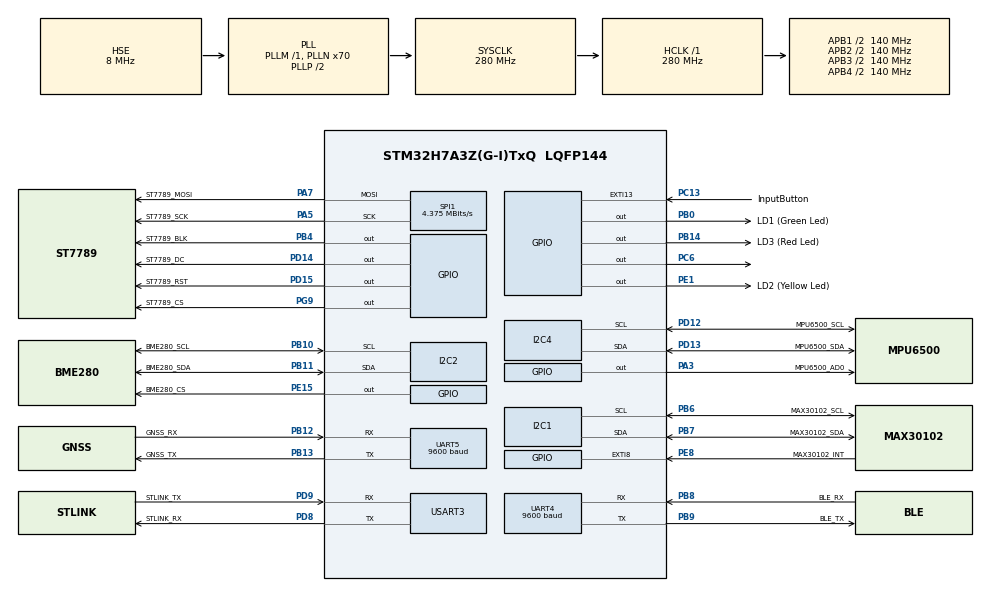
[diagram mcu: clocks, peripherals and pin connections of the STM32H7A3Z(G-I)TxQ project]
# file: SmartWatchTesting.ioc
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CORTEX_M7.default_mode_Activation=1
Dma.Request0=UART5_RX
Dma.Request1=UART5_TX
Dma.Request2=UART4_RX
Dma.Request3=UART4_TX
Dma.Request4=SPI1_TX
Dma.SPI1_TX.4.Direction=DMA_MEMORY_TO_PERIPH
Dma.SPI1_TX.4.EventEnable=DISABLE
Dma.SPI1_TX.4.FIFOMode=DMA_FIFOMODE_DISABLE
Dma.SPI1_TX.4.Instance=DMA1_Stream5
Dma.SPI1_TX.4.MemDataAlignment=DMA_MDATAALIGN_BYTE
Dma.SPI1_TX.4.MemInc=DMA_MINC_ENABLE
Dma.SPI1_TX.4.Mode=DMA_NORMAL
Dma.SPI1_TX.4.PeriphDataAlignment=DMA_PDATAALIGN_BYTE
Dma.SPI1_TX.4.PeriphInc=DMA_PINC_DISABLE
Dma.SPI1_TX.4.Polarity=HAL_DMAMUX_REQ_GEN_RISING
Dma.SPI1_TX.4.Priority=DMA_PRIORITY_LOW
Dma.SPI1_TX.4.RequestNumber=1
Dma.SPI1_TX.4.SignalID=NONE
Dma.SPI1_TX.4.SyncEnable=DISABLE
Dma.SPI1_TX.4.SyncPolarity=HAL_DMAMUX_SYNC_NO_EVENT
Dma.SPI1_TX.4.SyncRequestNumber=1
Dma.SPI1_TX.4.SyncSignalID=NONE
Dma.UART4_RX.2.Direction=DMA_PERIPH_TO_MEMORY
Dma.UART4_RX.2.EventEnable=DISABLE
Dma.UART4_RX.2.FIFOMode=DMA_FIFOMODE_DISABLE
Dma.UART4_RX.2.Instance=DMA1_Stream2
Dma.UART4_RX.2.MemDataAlignment=DMA_MDATAALIGN_BYTE
Dma.UART4_RX.2.MemInc=DMA_MINC_ENABLE
Dma.UART4_RX.2.Mode=DMA_CIRCULAR
Dma.UART4_RX.2.PeriphDataAlignment=DMA_PDATAALIGN_BYTE
Dma.UART4_RX.2.PeriphInc=DMA_PINC_DISABLE
Dma.UART4_RX.2.Polarity=HAL_DMAMUX_REQ_GEN_RISING
Dma.UART4_RX.2.Priority=DMA_PRIORITY_LOW
Dma.UART4_RX.2.RequestNumber=1
Dma.UART4_RX.2.SignalID=NONE
Dma.UART4_RX.2.SyncEnable=DISABLE
Dma.UART4_RX.2.SyncPolarity=HAL_DMAMUX_SYNC_NO_EVENT
Dma.UART4_RX.2.SyncRequestNumber=1
Dma.UART4_RX.2.SyncSignalID=NONE
Dma.UART4_TX.3.Direction=DMA_MEMORY_TO_PERIPH
Dma.UART4_TX.3.EventEnable=DISABLE
Dma.UART4_TX.3.FIFOMode=DMA_FIFOMODE_DISABLE
Dma.UART4_TX.3.Instance=DMA1_Stream3
Dma.UART4_TX.3.MemDataAlignment=DMA_MDATAALIGN_BYTE
Dma.UART4_TX.3.MemInc=DMA_MINC_ENABLE
Dma.UART4_TX.3.Mode=DMA_NORMAL
Dma.UART4_TX.3.PeriphDataAlignment=DMA_PDATAALIGN_BYTE
Dma.UART4_TX.3.PeriphInc=DMA_PINC_DISABLE
Dma.UART4_TX.3.Polarity=HAL_DMAMUX_REQ_GEN_RISING
Dma.UART4_TX.3.Priority=DMA_PRIORITY_LOW
Dma.UART4_TX.3.RequestNumber=1
Dma.UART4_TX.3.SignalID=NONE
Dma.UART4_TX.3.SyncEnable=DISABLE
Dma.UART4_TX.3.SyncPolarity=HAL_DMAMUX_SYNC_NO_EVENT
Dma.UART4_TX.3.SyncRequestNumber=1
Dma.UART4_TX.3.SyncSignalID=NONE
Dma.UART5_RX.0.Direction=DMA_PERIPH_TO_MEMORY
Dma.UART5_RX.0.EventEnable=DISABLE
Dma.UART5_RX.0.FIFOMode=DMA_FIFOMODE_DISABLE
Dma.UART5_RX.0.Instance=DMA1_Stream0
Dma.UART5_RX.0.MemDataAlignment=DMA_MDATAALIGN_BYTE
Dma.UART5_RX.0.MemInc=DMA_MINC_ENABLE
Dma.UART5_RX.0.Mode=DMA_CIRCULAR
Dma.UART5_RX.0.PeriphDataAlignment=DMA_PDATAALIGN_BYTE
Dma.UART5_RX.0.PeriphInc=DMA_PINC_DISABLE
Dma.UART5_RX.0.Polarity=HAL_DMAMUX_REQ_GEN_RISING
Dma.UART5_RX.0.Priority=DMA_PRIORITY_LOW
Dma.UART5_RX.0.RequestNumber=1
Dma.UART5_RX.0.SignalID=NONE
Dma.UART5_RX.0.SyncEnable=DISABLE
Dma.UART5_RX.0.SyncPolarity=HAL_DMAMUX_SYNC_NO_EVENT
Dma.UART5_RX.0.SyncRequestNumber=1
Dma.UART5_RX.0.SyncSignalID=NONE
Dma.UART5_TX.1.Direction=DMA_MEMORY_TO_PERIPH
Dma.UART5_TX.1.EventEnable=DISABLE
Dma.UART5_TX.1.FIFOMode=DMA_FIFOMODE_DISABLE
Dma.UART5_TX.1.Instance=DMA1_Stream1
Dma.UART5_TX.1.MemDataAlignment=DMA_MDATAALIGN_BYTE
Dma.UART5_TX.1.MemInc=DMA_MINC_ENABLE
Dma.UART5_TX.1.Mode=DMA_NORMAL
Dma.UART5_TX.1.PeriphDataAlignment=DMA_PDATAALIGN_BYTE
Dma.UART5_TX.1.PeriphInc=DMA_PINC_DISABLE
Dma.UART5_TX.1.Polarity=HAL_DMAMUX_REQ_GEN_RISING
Dma.UART5_TX.1.Priority=DMA_PRIORITY_LOW
Dma.UART5_TX.1.RequestNumber=1
Dma.UART5_TX.1.SignalID=NONE
Dma.UART5_TX.1.SyncEnable=DISABLE
Dma.UART5_TX.1.SyncPolarity=HAL_DMAMUX_SYNC_NO_EVENT
Dma.UART5_TX.1.SyncRequestNumber=1
Dma.UART5_TX.1.SyncSignalID=NONE
I2C1.Timing=0x20B0CCFF
I2C2.Timing=0x20B0CCFF
I2C4.Timing=0x20B0CCFF
Mcu.Family=STM32H7
Mcu.Name=STM32H7A3Z(G-I)TxQ
Mcu.Package=LQFP144
NVIC.DMA1_Stream0_IRQn=true\:0\:0\:false\:false\:true\:false\:true\:true
NVIC.DMA1_Stream1_IRQn=true\:0\:0\:false\:false\:true\:false\:true\:true
NVIC.DMA1_Stream2_IRQn=true\:0\:0\:false\:false\:true\:false\:true\:true
NVIC.DMA1_Stream3_IRQn=true\:0\:0\:false\:false\:true\:false\:true\:true
NVIC.DMA1_Stream5_IRQn=true\:0\:0\:false\:false\:true\:false\:true\:true
NVIC.EXTI15_10_IRQn=true\:0\:0\:false\:false\:true\:true\:true\:true
NVIC.EXTI9_5_IRQn=true\:0\:0\:false\:false\:true\:true\:true\:true
NVIC.PriorityGroup=NVIC_PRIORITYGROUP_4
NVIC.SPI1_IRQn=true\:0\:0\:false\:false\:true\:false\:true\:true
NVIC.UART4_IRQn=true\:0\:0\:false\:false\:true\:true\:true\:true
NVIC.UART5_IRQn=true\:0\:0\:false\:false\:true\:true\:true\:true
PA13.Mode=Trace_Asynchronous_SW
PA13.Signal=DEBUG_JTMS-SWDIO
PA14.Mode=Trace_Asynchronous_SW
PA14.Signal=DEBUG_JTCK-SWCLK
PA3.GPIO_Label=MPU6500_AD0
PA3.Signal=GPIO_Output
PA5.GPIO_Label=ST7789_SCK
PA5.Mode=TX_Only_Simplex_Unidirect_Master
PA5.Signal=SPI1_SCK
PA7.GPIO_Label=ST7789_MOSI
PA7.Mode=TX_Only_Simplex_Unidirect_Master
PA7.Signal=SPI1_MOSI
PB0.GPIO_Label=LD1 (Green Led)
PB0.Signal=GPIO_Output
PB10.GPIO_Label=BME280_SCL
PB10.Mode=I2C
PB10.Signal=I2C2_SCL
PB11.GPIO_Label=BME280_SDA
PB11.Mode=I2C
PB11.Signal=I2C2_SDA
PB12.GPIO_Label=GNSS_RX
PB12.Mode=Asynchronous
PB12.Signal=UART5_RX
PB13.GPIO_Label=GNSS_TX
PB13.Mode=Asynchronous
PB13.Signal=UART5_TX
PB14.GPIO_Label=LD3 (Red Led)
PB14.Signal=GPIO_Output
PB3.Mode=Trace_Asynchronous_SW
PB3.Signal=DEBUG_JTDO-SWO
PB4.GPIO_Label=ST7789_BLK
PB4.PinState=GPIO_PIN_RESET
PB4.Signal=GPIO_Output
PB6.GPIO_Label=MAX30102_SCL
PB6.GPIO_Pu=GPIO_NOPULL
PB6.Mode=I2C
PB6.Signal=I2C1_SCL
PB7.GPIO_Label=MAX30102_SDA
PB7.GPIO_Pu=GPIO_NOPULL
PB7.Mode=I2C
PB7.Signal=I2C1_SDA
PB8.GPIO_Label=BLE_RX
PB8.Mode=Asynchronous
PB8.Signal=UART4_RX
PB9.GPIO_Label=BLE_TX
PB9.Mode=Asynchronous
PB9.Signal=UART4_TX
PC13.GPIO_Label=InputButton
PC13.GPIO_ModeDefaultEXTI=GPIO_MODE_IT_FALLING
PC13.Signal=GPXTI13
PC14-OSC32_IN.GPIO_Label=OSC32_IN
PC14-OSC32_IN.Signal=RCC_OSC32_IN
PC15-OSC32_OUT.GPIO_Label=OSC32_OUT
PC15-OSC32_OUT.Signal=RCC_OSC32_OUT
PC6.Signal=GPIO_Output
PD12.GPIO_Label=MPU6500_SCL
PD12.Mode=I2C
PD12.Signal=I2C4_SCL
PD13.GPIO_Label=MPU6500_SDA
PD13.Mode=I2C
PD13.Signal=I2C4_SDA
PD14.GPIO_Label=ST7789_DC
PD14.GPIO_Speed=GPIO_SPEED_FREQ_HIGH
PD14.Signal=GPIO_Output
PD15.GPIO_Label=ST7789_RST
PD15.PinState=GPIO_PIN_SET
PD15.Signal=GPIO_Output
PD8.GPIO_Label=STLINK_RX
PD8.Mode=Asynchronous
PD8.Signal=USART3_TX
PD9.GPIO_Label=STLINK_TX
PD9.Mode=Asynchronous
PD9.Signal=USART3_RX
PE1.GPIO_Label=LD2 (Yellow Led)
PE1.Signal=GPIO_Output
PE15.GPIO_Label=BME280_CS
PE15.PinState=GPIO_PIN_SET
PE15.Signal=GPIO_Output
PE8.GPIO_Label=MAX30102_INT
PE8.GPIO_ModeDefaultEXTI=GPIO_MODE_IT_FALLING
PE8.GPIO_PuPd=GPIO_NOPULL
PE8.Signal=GPXTI8
PG9.GPIO_Label=ST7789_CS
PG9.Signal=GPIO_Output
PH0-OSC_IN.GPIO_Label=PH0-MCU
PH0-OSC_IN.Mode=HSE-External-Oscillator
PH0-OSC_IN.Signal=RCC_OSC_IN
PH1-OSC_OUT.GPIO_Label=PH1-MCU
PH1-OSC_OUT.Mode=HSE-External-Oscillator
PH1-OSC_OUT.Signal=RCC_OSC_OUT
ProjectManager.HeapSize=0x200
ProjectManager.StackSize=0x400
ProjectManager.TargetToolchain=STM32CubeIDE
RCC.ADCFreq_Value=16125000
RCC.APB1Freq_Value=140000000
RCC.APB2Freq_Value=140000000
RCC.APB3Freq_Value=140000000
RCC.APB4Freq_Value=140000000
RCC.CDPPRE=RCC_APB3_DIV2
RCC.CDPPRE1=RCC_APB1_DIV2
RCC.CDPPRE2=RCC_APB2_DIV2
RCC.CortexFreq_Value=280000000
RCC.DIVM1=1
RCC.DIVM3=1
RCC.DIVN1=70
RCC.DIVN3=24
RCC.DIVQ1=4
RCC.HCLKFreq_Value=280000000
RCC.HSE_VALUE=8000000
RCC.PLLFRACN=0
RCC.PLLSourceVirtual=RCC_PLLSOURCE_HSE
RCC.PWR_Regulator_Voltage_Scale=PWR_REGULATOR_VOLTAGE_SCALE0
RCC.SRDPPRE=RCC_APB4_DIV2
RCC.SYSCLKFreq_VALUE=280000000
RCC.SYSCLKSource=RCC_SYSCLKSOURCE_PLLCLK
RCC.SupplySource=PWR_DIRECT_SMPS_SUPPLY
RCC.USBCLockSelection=RCC_USBCLKSOURCE_HSI48
RCC.USBFreq_Value=48000000
SPI1.BaudRatePrescaler=SPI_BAUDRATEPRESCALER_32
SPI1.CLKPhase=SPI_PHASE_2EDGE
SPI1.CLKPolarity=SPI_POLARITY_HIGH
SPI1.CalculateBaudRate=4.375 MBits/s
SPI1.DataSize=SPI_DATASIZE_8BIT
SPI1.Direction=SPI_DIRECTION_2LINES_TXONLY
SPI1.Mode=SPI_MODE_MASTER
SPI1.VirtualType=VM_MASTER
UART4.BaudRate=9600
UART5.BaudRate=9600
USART3.VirtualMode-Asynchronous=VM_ASYNC
VP_MEMORYMAP_VS_MEMORYMAP.Mode=CurAppReg
board=NUCLEO-H7A3ZI-Q

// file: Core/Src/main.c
/* USER CODE BEGIN Header */
/**
 ******************************************************************************
 * @file           : main.c
 * @brief          : Main program body
 ******************************************************************************
 * @attention
 *
 * Copyright (c) 2025 STMicroelectronics.
 * All rights reserved.
 *
 * This software is licensed under terms that can be found in the LICENSE file
 * in the root directory of this software component.
 * If no LICENSE file comes with this software, it is provided AS-IS.
 *
 ******************************************************************************
 */
/* USER CODE END Header */
#include "main.h"
#include "dma.h"
#include "i2c.h"
#include "memorymap.h"
#include "spi.h"
#include "usart.h"
#include "gpio.h"

/* USER CODE BEGIN Includes */
#include "bmp280.h"
#include "GNSS.h"
#include "stm32h7xx_hal.h"
#include <string.h>         // For memset(), strlen(), sprintf()
#include <stdio.h>          // For printf() (if using debugging via UART)
#include <st7789.h>
#include "MPU6500_driver.h"
#include "ble_comms.h"
#include "common_defs.h"
#include "display.h"
#include "max30102_for_stm32_hal.h"
#include "sensors.h"
#include "uart_comms.h"

/* USER CODE END Includes */

/* USER CODE BEGIN PV */
float pressure, temperature, humidity;

uint16_t size;
uint8_t Data[256];

GNSS_StateHandle GNSS_Handle;

volatile uint16_t rxPos = 0;
char messageBuffer[RX_BUFFER_SIZE];
volatile uint8_t messageReady = 0;
extern uint8_t rxBuffer[RX_BUFFER_SIZE];

extern SmartWatchData_t SmartWatchData_handle;
UI_Screen_State_t SmartWatchScreen_State;
max30102_t max30102;

/* USER CODE END PV */

void SystemClock_Config(void);
static void MPU_Config(void);

/* USER CODE BEGIN 0 */
int __io_putchar(int chr)
{
	HAL_UART_Transmit(&STLINK_UART, (uint8_t*) &chr, 1, HAL_MAX_DELAY);
	return chr;
}
/* USER CODE END 0 */

int main(void)
{

  /* MPU Configuration--------------------------------------------------------*/
  MPU_Config();

  /* MCU Configuration--------------------------------------------------------*/

  /* Reset of all peripherals, Initializes the Flash interface and the Systick. */
  HAL_Init();

  /* Configure the system clock */
  SystemClock_Config();

  /* Initialize all configured peripherals */
  MX_GPIO_Init();
  MX_DMA_Init();
  MX_UART4_Init();
  MX_USART3_UART_Init();
  MX_I2C2_Init();
  MX_UART5_Init();
  MX_SPI1_Init();
  MX_I2C4_Init();
  MX_I2C1_Init();
  /* USER CODE BEGIN 2 */

	HAL_StatusTypeDef Scan_I2C_Bus(I2C_HandleTypeDef *hi2c)
	{
		HAL_StatusTypeDef status;
		uint32_t err;
		for (uint16_t addr = 1; addr < 128; addr++)
		{
			status = HAL_I2C_IsDeviceReady(hi2c, addr << 1, 3, 500);
			if (status == HAL_OK)
			{
				printf("I2C: device ACK at 0x%02X\r\n", addr);
			}
			else
			{
				err = HAL_I2C_GetError(hi2c);
				// err == HAL_I2C_ERROR_NONE usually means NACK
				printf("I2C: 0x%02X no ACK (err=0x%lX)\r\n", addr, err);
			}
			HAL_Delay(5);  // give time for UART to flush
		}
		return HAL_OK;
	}

#ifdef BLE_TEST

  configureHM10();
  startUartReception(&BLE_UART);
#endif

#ifdef BME280
	Scan_I2C_Bus(&BME280_I2C);

  Sensor_BMP280_init(&SmartWatchData_handle.bmp280);
#endif

#ifdef GPS_TEST
//	GNSS_Init(&GNSS_Handle, &GNSS_UART);
//	HAL_Delay(1000);
//	GNSS_LoadConfig(&GNSS_Handle);
//	uint32_t Timer = HAL_GetTick();
    Sensor_GNSS_Init(&SmartWatchData_handle,&GNSS_UART);        // init GNSS data handle

#endif

#ifdef MPU6500_TEST

	/* WHO_AM_I read */
	uint8_t MPU6500_ReadWhoAmI(void)
	{
	    uint8_t who_am_i = 0;
	    HAL_I2C_Mem_Read(&MPU6500_I2C, MPU6500_I2C_ADDR_SHIFTED, MPU6500_RGSTR_WHO_AM_I,
	                     I2C_MEMADD_SIZE_8BIT, &who_am_i, 1, HAL_MAX_DELAY);
	    return who_am_i;
	}

	/* Read values */

    uint8_t id = MPU6500_ReadWhoAmI();
    printf("mpu6500: WHO_AM_I = 0x%02X\r\n", id);

#endif

#ifdef SCREEN_TEST
	SmartWatchScreen_State = SCREEN_ENVIRONMENTAL;
	Display_Init(SmartWatchScreen_State);
	ST7789_Test();
#endif

#ifdef MAX30102_TEST
	// 7-bit I2C address of the MAX30102 is 0x57, shift left for HAL (8-bit format)
#define MAX30102_ADDR   (0x57 << 1)

	// MAX30102 register addresses
#define MAX30102_PART_ID_REG   0xFF

	// timeout for HAL transactions (ms)
#define MAX30102_I2C_TIMEOUT   100

	/**
	 * @brief  Simple connection test for MAX30102
	 * @retval HAL status: HAL_OK if device responded with correct PART_ID,
	 *         HAL_ERROR otherwise (or bus error)
	 */
	HAL_StatusTypeDef MAX30102_TestConnection(void)
	{
		uint8_t part_id = 0;
		HAL_StatusTypeDef status;

		// Read PART_ID register
		status = HAL_I2C_Mem_Read(&MAX30102_I2C,
		MAX30102_ADDR,
		MAX30102_PART_ID_REG,
		I2C_MEMADD_SIZE_8BIT, &part_id, 1,
		MAX30102_I2C_TIMEOUT);

		if (status != HAL_OK)
		{
			// I2C error (NACK, bus fault, etc.)
			return status;
		}

		if (part_id != 0x15)
		{
			// Unexpected ID
			return HAL_ERROR;
		}

		// All good!
		return HAL_OK;
	}

//	HAL_StatusTypeDef test = MAX30102_TestConnection();
	Scan_I2C_Bus();
//	Sensor_MAX30102_init(800, &max30102, &MAX30102_I2C);
	Sensor_MAX30102_init(&SmartWatchData_handle.max30102, &MAX30102_I2C);

#endif
//	Scan_I2C_Bus(&MAX30102_I2C);
	uint32_t Timer = HAL_GetTick();
	Sensor_SmartWatch_init(&SmartWatchData_handle);
  /* USER CODE END 2 */

  /* Infinite loop */
  /* USER CODE BEGIN WHILE */
	while (1)
	{
#ifdef BME280

		Sensor_BMP280_read_data(&SmartWatchData_handle);

		printf("Pressure: %.2f Pa, Temperature: %.2f C,  Humidity: %.2f \r\n", SmartWatchData_handle.pressure, SmartWatchData_handle.temperature,SmartWatchData_handle.humidity);

		HAL_Delay(500);
#endif

#ifdef GPS_TEST
//		if ((HAL_GetTick() - Timer) > 1000)
//		{
//			GNSS_GetUniqID(&GNSS_Handle);
//			GNSS_ParseBuffer(&GNSS_Handle);
//			HAL_Delay(250);
//			GNSS_GetPVTData(&GNSS_Handle);
//			GNSS_ParseBuffer(&GNSS_Handle);
//			HAL_Delay(250);
//			GNSS_SetMode(&GNSS_Handle,Wirst);
//			HAL_Delay(250);
//			printf("Day: %d-%d-%d \r\n", GNSS_Handle.day, GNSS_Handle.month,GNSS_Handle.year);
//			printf("Time: %d:%d:%d \r\n", GNSS_Handle.hour, GNSS_Handle.min,GNSS_Handle.sec);
//			printf("Status of fix: %d \r\n", GNSS_Handle.fixType);
//			printf("Latitude: %f \r\n", GNSS_Handle.fLat);
//			printf("Longitude: %f \r\n",(float) GNSS_Handle.lon / 10000000.0);
//			printf("Height above ellipsoid: %d \r\n", GNSS_Handle.height);
//			printf("Height above mean sea level: %d \r\n", GNSS_Handle.hMSL);
//			printf("Ground Speed (2-D): %d \r\n", GNSS_Handle.gSpeed);
//			printf("Unique ID: %04X %04X %04X %04X %04X \n\r",
//					GNSS_Handle.uniqueID[0], GNSS_Handle.uniqueID[1],
//					GNSS_Handle.uniqueID[2], GNSS_Handle.uniqueID[3],
//					GNSS_Handle.uniqueID[4], GNSS_Handle.uniqueID[5]);
//			printf("--------------------------------------\r\n" );
//			Timer = HAL_GetTick();
//		}
		Sensor_GNSS_Update(&SmartWatchData_handle);

		Sensor_SmartWatch_log(&SmartWatchData_handle);
		//			Timer = HAL_GetTick();

		HAL_Delay(1000);
#endif
#ifdef BLE_TEST
        if (messageReady) {
            // Process the complete message
            printf("Received complete message: %s\r\n", messageBuffer);
            messageReady = 0;
        }
#endif

#ifdef MPU6500_TEST
        Sensor_MPU6500_read_data(&SmartWatchData_handle);
        printf("===================================\r\n");

		HAL_Delay(500);

#endif

#ifdef SCREEN_TEST

		SmartWatchData_handle.pressure += 1;
		SmartWatchData_handle.heart_rate += 1;
		SmartWatchData_handle.spo2 += 1;
		SmartWatchScreen_State = SCREEN_HEART_RATE;

	    Display_Update(SmartWatchScreen_State, &SmartWatchData_handle);
//	    HAL_Delay(20);
//		Display_EnvironnementData(30,70,&SmartWatchData_handle);
#endif

#ifdef MAX30102_TEST
		// If interrupt flag is active
		Sensor_max30102_Update(&SmartWatchData_handle);
//	    if (max30102_has_interrupt(&SmartWatchData_handle.max30102))
//	    {
//		      // Run interrupt handler to read FIFO
//		      max30102_interrupt_handler(&SmartWatchData_handle.max30102);
//		      Sensor_MAX30102_compute(&SmartWatchData_handle.max30102);
//		      uint8_t hr = Sensor_MAX30102_get_hr();
//		      uint8_t spo2 = Sensor_MAX30102_get_spo2();
//
//		      printf("---------------new data---------------\r\n");
//		      printf("hr : %u r\n",hr);
//		      printf("spo2 : %u r\n",spo2);
//
//	    }

#endif
		if (messageReady)
		{
			// Process the complete message
			printf("Received complete message: %s\r\n", messageBuffer);
			messageReady = 0;
		}

		Sensor_SmartWatch_update(&SmartWatchData_handle);

		if ((HAL_GetTick() - Timer) > 1000)
		{
			Sensor_SmartWatch_log(&SmartWatchData_handle);
			Timer = HAL_GetTick();
		}
    /* USER CODE END WHILE */

	}
}

void SystemClock_Config(void)
{
  RCC_OscInitTypeDef RCC_OscInitStruct = {0};
  RCC_ClkInitTypeDef RCC_ClkInitStruct = {0};

  /*AXI clock gating */
  RCC->CKGAENR = 0xFFFFFFFF;

  /** Supply configuration update enable
  */
  HAL_PWREx_ConfigSupply(PWR_DIRECT_SMPS_SUPPLY);

  /** Configure the main internal regulator output voltage
  */
  __HAL_PWR_VOLTAGESCALING_CONFIG(PWR_REGULATOR_VOLTAGE_SCALE0);

  while(!__HAL_PWR_GET_FLAG(PWR_FLAG_VOSRDY)) {}

  /** Initializes the RCC Oscillators according to the specified parameters
  * in the RCC_OscInitTypeDef structure.
  */
  RCC_OscInitStruct.OscillatorType = RCC_OSCILLATORTYPE_HSE;
  RCC_OscInitStruct.HSEState = RCC_HSE_ON;
  RCC_OscInitStruct.PLL.PLLState = RCC_PLL_ON;
  RCC_OscInitStruct.PLL.PLLSource = RCC_PLLSOURCE_HSE;
  RCC_OscInitStruct.PLL.PLLM = 1;
  RCC_OscInitStruct.PLL.PLLN = 70;
  RCC_OscInitStruct.PLL.PLLP = 2;
  RCC_OscInitStruct.PLL.PLLQ = 4;
  RCC_OscInitStruct.PLL.PLLR = 2;
  RCC_OscInitStruct.PLL.PLLRGE = RCC_PLL1VCIRANGE_3;
  RCC_OscInitStruct.PLL.PLLVCOSEL = RCC_PLL1VCOWIDE;
  RCC_OscInitStruct.PLL.PLLFRACN = 0;
  if (HAL_RCC_OscConfig(&RCC_OscInitStruct) != HAL_OK)
  {
    Error_Handler();
  }

  /** Initializes the CPU, AHB and APB buses clocks
  */
  RCC_ClkInitStruct.ClockType = RCC_CLOCKTYPE_HCLK|RCC_CLOCKTYPE_SYSCLK
                              |RCC_CLOCKTYPE_PCLK1|RCC_CLOCKTYPE_PCLK2
                              |RCC_CLOCKTYPE_D3PCLK1|RCC_CLOCKTYPE_D1PCLK1;
  RCC_ClkInitStruct.SYSCLKSource = RCC_SYSCLKSOURCE_PLLCLK;
  RCC_ClkInitStruct.SYSCLKDivider = RCC_SYSCLK_DIV1;
  RCC_ClkInitStruct.AHBCLKDivider = RCC_HCLK_DIV1;
  RCC_ClkInitStruct.APB3CLKDivider = RCC_APB3_DIV2;
  RCC_ClkInitStruct.APB1CLKDivider = RCC_APB1_DIV2;
  RCC_ClkInitStruct.APB2CLKDivider = RCC_APB2_DIV2;
  RCC_ClkInitStruct.APB4CLKDivider = RCC_APB4_DIV2;

  if (HAL_RCC_ClockConfig(&RCC_ClkInitStruct, FLASH_LATENCY_6) != HAL_OK)
  {
    Error_Handler();
  }
}

/* USER CODE BEGIN 4 */
// This callback is called when idle line is detected or buffer is full
void HAL_UARTEx_RxEventCallback(UART_HandleTypeDef *huart, uint16_t Size)
{
	if (huart->Instance == UART4)
	{
		// Copy the data from DMA buffer to message buffer
		memcpy(messageBuffer, rxBuffer, Size);

		// Null-terminate the string
		messageBuffer[Size] = '\0';

		// Set flag for main loop
		messageReady = 1;

		HAL_UART_AbortReceive(huart);  // Stop DMA
		memset(rxBuffer, 0, sizeof(rxBuffer));  // Reset buffer

		// Restart DMA reception
		HAL_UARTEx_ReceiveToIdle_DMA(huart, rxBuffer, RX_BUFFER_SIZE);
		__HAL_DMA_DISABLE_IT(huart->hdmarx, DMA_IT_HT);
	}
}

void HAL_GPIO_EXTI_Callback(uint16_t GPIO_Pin)
{
	if (GPIO_Pin == InputButton_Pin)
	{

	}
	else if (GPIO_Pin == MAX30102_INT_Pin)
	{
		max30102_on_interrupt(&SmartWatchData_handle.max30102);
	}
}
/* USER CODE END 4 */

 /* MPU Configuration */

void MPU_Config(void)
{
  MPU_Region_InitTypeDef MPU_InitStruct = {0};

  /* Disables the MPU */
  HAL_MPU_Disable();

  /** Initializes and configures the Region and the memory to be protected
  */
  MPU_InitStruct.Enable = MPU_REGION_ENABLE;
  MPU_InitStruct.Number = MPU_REGION_NUMBER0;
  MPU_InitStruct.BaseAddress = 0x0;
  MPU_InitStruct.Size = MPU_REGION_SIZE_4GB;
  MPU_InitStruct.SubRegionDisable = 0x87;
  MPU_InitStruct.TypeExtField = MPU_TEX_LEVEL0;
  MPU_InitStruct.AccessPermission = MPU_REGION_NO_ACCESS;
  MPU_InitStruct.DisableExec = MPU_INSTRUCTION_ACCESS_DISABLE;
  MPU_InitStruct.IsShareable = MPU_ACCESS_SHAREABLE;
  MPU_InitStruct.IsCacheable = MPU_ACCESS_NOT_CACHEABLE;
  MPU_InitStruct.IsBufferable = MPU_ACCESS_NOT_BUFFERABLE;

  HAL_MPU_ConfigRegion(&MPU_InitStruct);
  /* Enables the MPU */
  HAL_MPU_Enable(MPU_PRIVILEGED_DEFAULT);

}

void Error_Handler(void)
{
	__disable_irq();
	while (1)
	{
	}
}
